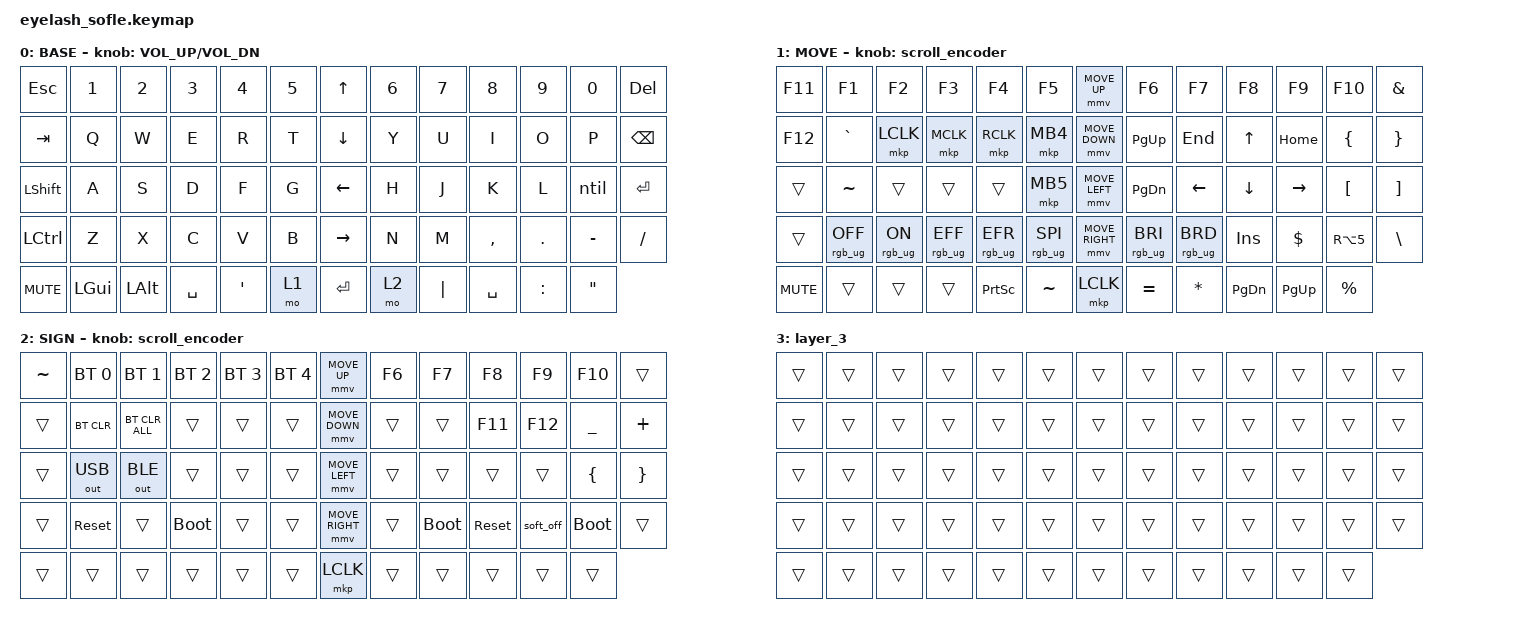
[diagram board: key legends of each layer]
#define ZMK_POINTING_DEFAULT_MOVE_VAL 1200  // 600
#define ZMK_POINTING_DEFAULT_SCRL_VAL 25   // 10

#include <input/processors.dtsi>
#include <zephyr/dt-bindings/input/input-event-codes.h>
#include <behaviors.dtsi>
#include <dt-bindings/zmk/bt.h>
#include <dt-bindings/zmk/keys.h>
#include <dt-bindings/zmk/outputs.h>
#include <dt-bindings/zmk/pointing.h>
#include <dt-bindings/zmk/rgb.h>

&mmv_input_listener { input-processors = <&zip_xy_scaler 2 1>; };

&msc_input_listener { input-processors = <&zip_scroll_scaler 2 1>; };

&msc {
    acceleration-exponent = <1>;      // 0
    time-to-max-speed-ms = <100>;       // 300
    delay-ms = <0>;                   // 0
};

&mmv {
    time-to-max-speed-ms = <500>;
    acceleration-exponent = <1>;
    trigger-period-ms = <16>;
};

&soft_off { hold-time-ms = <2000>; };

/ {
    scroll_encoder: scroll_encoder {
        compatible = "zmk,behavior-sensor-rotate";
        #sensor-binding-cells = <0>;
        bindings = <&msc SCRL_DOWN>, <&msc SCRL_UP>;

        tap-ms = <100>;
    };

    macros {
        m_ntil: m_ntil {
            compatible = "zmk,behavior-macro";
            #binding-cells = <0>;
            bindings = <&kp TILDE &kp N>;
        };

        m_ntil_upper: m_ntil_upper {
            compatible = "zmk,behavior-macro";
            #binding-cells = <0>;
            bindings = <&kp TILDE &kp LS(N)>;
        };
    };

    behaviors {
        ntil: ntil {
            compatible = "zmk,behavior-mod-morph";
            #binding-cells = <0>;
            bindings = <&m_ntil>, <&m_ntil_upper>;

            mods = <(MOD_LSFT|MOD_RSFT)>;
        };
    };

    combos {
        compatible = "zmk,combos";

        softoff {
            bindings = <&soft_off>;
            key-positions = <14 28 40>;
        };
    };

    keymap {
        compatible = "zmk,keymap";

        layer0 {
            bindings = <
&kp ESC           &kp N1    &kp N2        &kp N3     &kp N4            &kp N5    &kp UP_ARROW     &kp N6  &kp N7    &kp N8     &kp N9     &kp N0             &kp DELETE
&kp TAB           &kp Q     &kp W         &kp E      &kp R             &kp T     &kp DOWN_ARROW   &kp Y   &kp U     &kp I      &kp O      &kp P              &kp BACKSPACE
&kp LEFT_SHIFT    &kp A     &kp S         &kp D      &kp F             &kp G     &kp LEFT_ARROW   &kp H   &kp J     &kp K      &kp L      &ntil              &kp ENTER
&kp LEFT_CONTROL  &kp Z     &kp X         &kp C      &kp V             &kp B     &kp RIGHT_ARROW  &kp N   &kp M     &kp COMMA  &kp DOT    &kp MINUS          &kp SLASH
&kp C_MUTE        &kp LGUI  &kp LEFT_ALT  &kp SPACE  &kp SINGLE_QUOTE  &mo 1     &kp ENTER        &mo 2   &kp PIPE  &kp SPACE  &kp COLON  &kp DOUBLE_QUOTES
            >;

            sensor-bindings = <&inc_dec_kp C_VOLUME_UP C_VOL_DN>;
            display-name = "BASE";
        };

        layer_1 {
            bindings = <
&kp F11     &kp F1           &kp F2          &kp F3           &kp F4           &kp F5             &mmv MOVE_UP     &kp F6           &kp F7           &kp F8         &kp F9      &kp F10               &kp AMPERSAND
&kp F12     &kp GRAVE        &mkp LCLK       &mkp MCLK        &mkp RCLK        &mkp MB4           &mmv MOVE_DOWN   &kp PG_UP        &kp END          &kp UP         &kp HOME    &kp LEFT_BRACE        &kp RIGHT_BRACE
&trans      &kp TILDE        &trans          &trans           &trans           &mkp MB5           &mmv MOVE_LEFT   &kp PG_DN        &kp LEFT         &kp DOWN       &kp RIGHT   &kp LEFT_BRACKET      &kp RIGHT_BRACKET
&trans      &rgb_ug RGB_OFF  &rgb_ug RGB_ON  &rgb_ug RGB_EFF  &rgb_ug RGB_EFR  &rgb_ug RGB_SPI    &mmv MOVE_RIGHT  &rgb_ug RGB_BRI  &rgb_ug RGB_BRD  &kp INSERT     &kp DOLLAR  &kp RA(N5)            &kp BACKSLASH
&kp C_MUTE  &trans           &trans          &trans           &kp PRINTSCREEN  &kp TILDE          &mkp LCLK        &kp EQUAL        &kp ASTERISK     &kp PAGE_DOWN  &kp PG_UP   &kp PERCENT
            >;

            display-name = "MOVE";
            sensor-bindings = <&scroll_encoder>;
        };

        layer_2 {
            bindings = <
&kp TILDE  &bt BT_SEL 0  &bt BT_SEL 1    &bt BT_SEL 2  &bt BT_SEL 3  &bt BT_SEL 4    &mmv MOVE_UP     &kp F6  &kp F7       &kp F8      &kp F9     &kp F10      &trans
&trans     &bt BT_CLR    &bt BT_CLR_ALL  &trans        &trans        &trans          &mmv MOVE_DOWN   &trans  &trans       &kp F11     &kp F12    &kp UNDER    &kp PLUS
&trans     &out OUT_USB  &out OUT_BLE    &trans        &trans        &trans          &mmv MOVE_LEFT   &trans  &trans       &trans      &trans     &kp LBRC     &kp RBRC
&trans     &sys_reset    &trans          &bootloader   &trans        &trans          &mmv MOVE_RIGHT  &trans  &bootloader  &sys_reset  &soft_off  &bootloader  &trans
&trans     &trans        &trans          &trans        &trans        &trans          &mkp LCLK        &trans  &trans       &trans      &trans     &trans
            >;

            display-name = "SIGN";
            sensor-bindings = <&scroll_encoder>;
        };

        layer_3 {
            bindings = <
&trans  &trans  &trans  &trans  &trans  &trans    &trans  &trans  &trans  &trans  &trans  &trans  &trans
&trans  &trans  &trans  &trans  &trans  &trans    &trans  &trans  &trans  &trans  &trans  &trans  &trans
&trans  &trans  &trans  &trans  &trans  &trans    &trans  &trans  &trans  &trans  &trans  &trans  &trans
&trans  &trans  &trans  &trans  &trans  &trans    &trans  &trans  &trans  &trans  &trans  &trans  &trans
&trans  &trans  &trans  &trans  &trans  &trans    &trans  &trans  &trans  &trans  &trans  &trans
            >;
        };
    };
};
